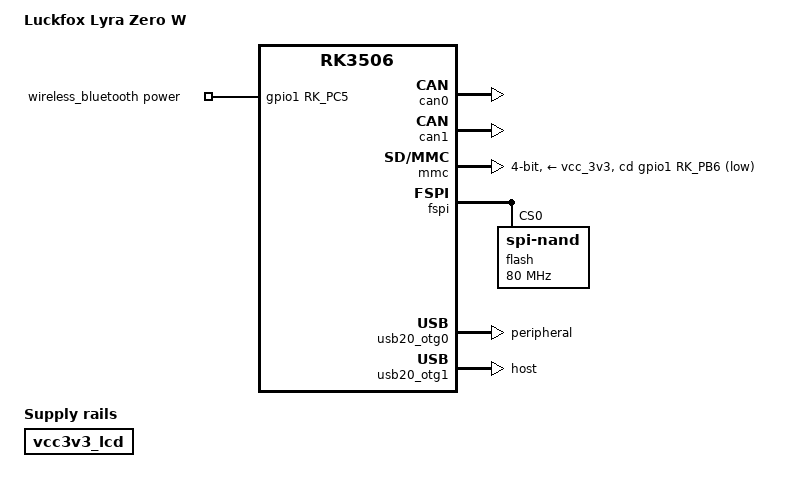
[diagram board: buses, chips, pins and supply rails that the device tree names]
// SPDX-License-Identifier: (GPL-2.0+ OR MIT)
/*
 * Copyright (c) 2024 Rockchip Electronics Co., Ltd.
 */

/dts-v1/;

#include "rk3506-luckfox-lyra-ultra.dtsi"

/ {
	model = "Luckfox Lyra Zero W";
	compatible = "rockchip,rk3506g-demo-display-control", "rockchip,rk3506";

	chosen {
		bootargs = "earlycon=uart8250,mmio32,0xff0a0000 console=tty1 console=ttyFIQ0 rootwait snd_aloop.index=7 snd_aloop.use_raw_jiffies=1";
	};

	mcu_rproc: mcu@fff84000 {
		compatible = "rockchip,rk3506-mcu";
		reg = <0xfff84000 0x8000>;
		firmware-name = "rk3506-m0.elf";

		clocks = <&cru HCLK_M0>, <&cru STCLK_M0>;

		resets = <&cru SRST_H_M0>, <&cru SRST_M0_JTAG>, <&cru SRST_HRESETN_M0_AC>;
		reset-names = "h_m0", "m0_jtag", "hresetn_m0_ac";
	};

	wireless_bluetooth: wireless-bluetooth {
		compatible = "bluetooth-platdata";
		BT,power_gpio = <&gpio1 RK_PC5 GPIO_ACTIVE_HIGH>;
		status = "okay";
	};

	vcc3v3_lcd: vcc3v3-lcd {
		status = "okay";
		compatible = "regulator-fixed";
		pinctrl-names = "default";
		pinctrl-0 = <&lcd_pwren_h>;
		regulator-name = "vcc3v3_lcd";
		regulator-always-on;
	};
};

&cpu0 {
	/delete-property/ cpu-supply;
};

&reserved_memory {
	/* remote amp core address */
	amp_shmem_reserved: amp-shmem@3b00000 {
		reg = <0x03b00000 0x100000>;
    	no-map;
	};

	rpmsg_reserved: rpmsg@3c00000 {
		reg = <0x03c00000 0x100000>;
    	no-map;
	};

	rpmsg_dma_reserved: rpmsg-dma@3d00000 {
		compatible = "shared-dma-pool";
		reg = <0x03d00000 0x100000>;
    	no-map;
	};

	/* mcu address */
	mcu_reserved: mcu@fff80000 {
		reg = <0xfff80000 0xc000>;
    	no-map;
	};
};

&can0 {
	status = "okay";
};

&can1 {
	status = "okay";
};


/**********media**********/
&mmc {
	/* For SDMMC */
	max-frequency = <52000000>;
	bus-width = <4>;
	no-sdio;
	no-mmc;
	cap-mmc-highspeed;
	cap-sd-highspeed;
	cd-gpios = <&gpio1 RK_PB6 GPIO_ACTIVE_LOW>; //det
	disable-wp;
	//sd-uhs-sdr104;
	pinctrl-names = "default";
	pinctrl-0 = <&sdmmc_clk_pins &sdmmc_cmd_pins &sdmmc_bus4_pins &sdmmc_det &sdmmc_pwren>;
	vqmmc-supply = <&vcc_3v3>;
	vmmc-supply = <&vcc_3v3>;
	status = "okay";
};

&fspi {
	status = "okay";

	flash@0 {
		compatible = "spi-nand";
		reg = <0>;
		spi-max-frequency = <80000000>;
		spi-rx-bus-width = <4>;
		spi-tx-bus-width = <1>;
	};
};

/**********display**********/
&cma {
	size = <0x2000000>;
};

&display_subsystem {
	logo-memory-region = <&drm_logo>;
	status = "disabled";
};

&dsi {
	status = "disabled";
};

&dsi_dphy {
	status = "disabled";
};

&dsi_in_vop {
	status = "disabled";
};

&route_dsi {
	status = "disabled";
};

/**********ethernet**********/
&gmac1 {
	status = "disabled";
};

/**********usb**********/
&usb20_otg0 {
	dr_mode = "peripheral";
	status = "okay";
};

&usb20_otg1 {
	dr_mode = "host";
	status = "okay";
};

/**********pinctrl**********/
&pinctrl {
	lcd {
		lcd_pwren_h: lcd-pwren-h {
			rockchip,pins = <1 RK_PC4 RK_FUNC_GPIO &pcfg_pull_up>;
		};
	};
};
